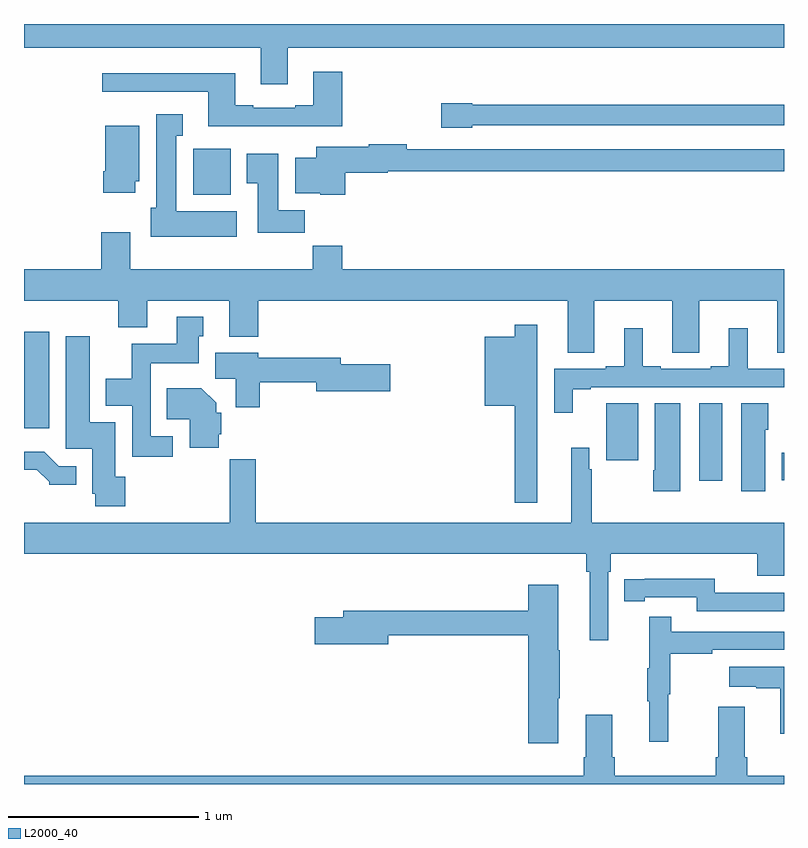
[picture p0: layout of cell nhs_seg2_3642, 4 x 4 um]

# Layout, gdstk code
import gdstk
lib = gdstk.Library(unit=1e-6, precision=1e-09)
def R(c, l, rs):  # rectangles x0, y0, x1, y1
    for r in rs: c.add(gdstk.rectangle(r[:2], r[2:], *l))
def P(c, l, *ps):  # polygons
    for p in ps: c.add(gdstk.Polygon(p, *l))
L2000_40 = (2000, 40)

nhs_seg2_3642 = lib.new_cell('nhs_seg2_3642')
R(nhs_seg2_3642, L2000_40, [(306.554,605.397,306.676,605.804), (306.989,605.4,307,605.544), (306.065,605.505,306.232,605.804), (303.002,605.673,303.133,606.181), (303.89,606.902,304.087,607.144)])
P(nhs_seg2_3642, L2000_40, [(304.387,607.676),(307,607.676),(307,607.8),(303,607.8),(303,607.676),(304.247,607.676),(304.247,607.482),(304.387,607.482)],
  [(304.676,607.549),(304.523,607.549),(304.523,607.372),(304.427,607.372),(304.427,607.359),(304.207,607.359),(304.207,607.372),(304.111,607.372),(304.111,607.54),(303.411,607.54),(303.411,607.443),(303.971,607.443),(303.971,607.262),(304.676,607.262)],
  [(305.358,607.266),(307,607.266),(307,607.375),(305.358,607.375),(305.358,607.383),(305.196,607.383),(305.196,607.253),(305.358,607.253)],
  [(304.12,606.814),(303.802,606.814),(303.802,607.211),(303.835,607.211),(303.835,607.324),(303.695,607.324),(303.695,606.834),(303.668,606.834),(303.668,606.68),(304.12,606.68)],
  [(303.586,606.972),(303.607,606.972),(303.607,607.264),(303.428,607.264),(303.428,607.024),(303.416,607.024),(303.416,606.912),(303.586,606.912)],
  [(304.691,607.016),(304.914,607.016),(304.914,607.024),(307,607.024),(307,607.14),(305.014,607.14),(305.014,607.168),(304.814,607.168),(304.814,607.153),(304.538,607.153),(304.538,607.096),(304.427,607.096),(304.427,606.908),(304.56,606.908),(304.56,606.902),(304.691,606.902)],
  [(304.478,606.82),(304.339,606.82),(304.339,607.117),(304.172,607.117),(304.172,606.961),(304.229,606.961),(304.229,606.702),(304.478,606.702)],
  [(306.001,606.344),(306.413,606.344),(306.413,606.07),(306.553,606.07),(306.553,606.344),(306.965,606.344),(306.965,606.07),(307,606.07),(307,606.508),(304.676,606.508),(304.676,606.632),(304.519,606.632),(304.519,606.508),(303.559,606.508),(303.559,606.703),(303.407,606.703),(303.407,606.508),(303,606.508),(303,606.344),(303.497,606.344),(303.497,606.203),(303.649,606.203),(303.649,606.344),(304.079,606.344),(304.079,606.155),(304.232,606.155),(304.232,606.344),(305.861,606.344),(305.861,606.07),(306.001,606.07)],
  [(303.784,605.631),(303.666,605.631),(303.666,606.014),(303.919,606.014),(303.919,606.156),(303.943,606.156),(303.943,606.259),(303.803,606.259),(303.803,606.118),(303.568,606.118),(303.568,605.932),(303.431,605.932),(303.431,605.792),(303.57,605.792),(303.57,605.523),(303.784,605.523)],
  [(305.702,605.696),(305.7,605.696),(305.7,606.217),(305.584,606.217),(305.584,606.154),(305.426,606.154),(305.426,605.792),(305.584,605.792),(305.584,605.28),(305.702,605.28)],
  [(305.887,605.877),(305.983,605.877),(305.983,605.889),(307,605.889),(307,605.985),(306.808,605.985),(306.808,606.199),(306.71,606.199),(306.71,605.998),(306.614,605.998),(306.614,605.985),(306.352,605.985),(306.352,605.998),(306.256,605.998),(306.256,606.199),(306.158,606.199),(306.158,605.998),(306.062,605.998),(306.062,605.985),(305.79,605.985),(305.79,605.754),(305.887,605.754)],
  [(303.533,605.418),(303.481,605.418),(303.481,605.704),(303.346,605.704),(303.346,606.157),(303.221,606.157),(303.221,605.565),(303.359,605.565),(303.359,605.328),(303.376,605.328),(303.376,605.262),(303.533,605.262)],
  [(304.242,605.914),(304.538,605.914),(304.538,605.867),(304.927,605.867),(304.927,606.009),(304.666,606.009),(304.666,606.043),(304.234,606.043),(304.234,606.07),(304.007,606.07),(304.007,605.932),(304.114,605.932),(304.114,605.784),(304.242,605.784)],
  [(304.025,605.64),(304.039,605.64),(304.039,605.754),(304.012,605.754),(304.012,605.806),(303.934,605.884),(303.751,605.884),(303.751,605.72),(303.872,605.72),(303.872,605.57),(304.025,605.57)],
  [(306.454,605.804),(306.32,605.804),(306.32,605.452),(306.313,605.452),(306.313,605.34),(306.454,605.34)],
  [(306.901,605.664),(306.916,605.664),(306.916,605.804),(306.776,605.804),(306.776,605.34),(306.901,605.34)],
  [(303.274,605.472),(303.183,605.472),(303.107,605.548),(303,605.548),(303,605.454),(303.068,605.454),(303.132,605.39),(303.132,605.375),(303.274,605.375)],
  [(305.879,605.569),(305.879,605.176),(304.22,605.176),(304.22,605.509),(304.084,605.509),(304.084,605.176),(303,605.176),(303,605.012),(305.959,605.012),(305.959,604.916),(305.978,604.916),(305.978,604.557),(306.075,604.557),(306.075,604.916),(306.089,604.916),(306.089,605.012),(306.86,605.012),(306.86,604.895),(307,604.895),(307,605.176),(305.989,605.176),(305.989,605.456),(305.976,605.456),(305.976,605.569)],
  [(307,604.806),(306.636,604.806),(306.636,604.879),(306.268,604.879),(306.268,604.878),(306.16,604.878),(306.16,604.762),(306.268,604.762),(306.268,604.782),(306.54,604.782),(306.54,604.71),(307,604.71)],
  [(305.812,604.252),(305.82,604.252),(305.82,604.505),(305.812,604.505),(305.812,604.849),(305.654,604.849),(305.654,604.711),(304.679,604.711),(304.679,604.677),(304.53,604.677),(304.53,604.535),(304.918,604.535),(304.918,604.582),(305.654,604.582),(305.654,604.014),(305.812,604.014)],
  [(306.392,604.272),(306.4,604.272),(306.4,604.486),(306.623,604.486),(306.623,604.506),(307,604.506),(307,604.602),(306.407,604.602),(306.407,604.681),(306.29,604.681),(306.29,604.409),(306.279,604.409),(306.279,604.235),(306.29,604.235),(306.29,604.023),(306.392,604.023)],
  [(307,604.417),(306.711,604.417),(306.711,604.313),(306.854,604.313),(306.854,604.303),(306.98,604.303),(306.98,604.065),(307,604.065)],
  [(307,603.844),(306.806,603.844),(306.806,603.94),(306.793,603.94),(306.793,604.207),(306.653,604.207),(306.653,603.94),(306.641,603.94),(306.641,603.844),(306.11,603.844),(306.11,603.94),(306.097,603.94),(306.097,604.165),(305.957,604.165),(305.957,603.94),(305.945,603.94),(305.945,603.844),(303,603.844),(303,603.8),(307,603.8)])

lib.write_gds('nhs_seg2_3642.gds')
